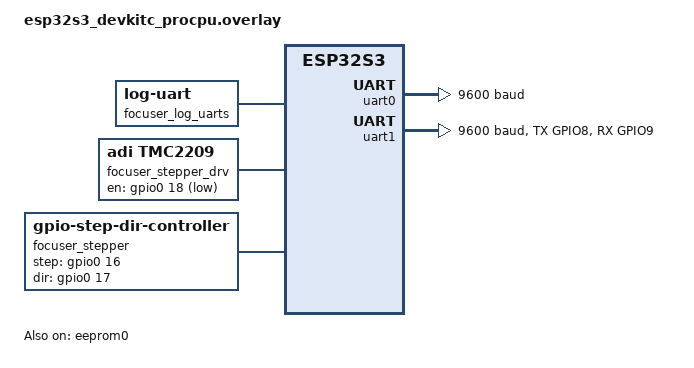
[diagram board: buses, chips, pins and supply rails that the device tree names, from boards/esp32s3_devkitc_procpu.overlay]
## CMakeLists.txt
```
#-------------------------------------------------------------------------------
# OpenAstroFocuser
#
# Copyright (c) 2021 Nordic Semiconductor ASA
# SPDX-License-Identifier: Apache-2.0

cmake_minimum_required(VERSION 3.13.1)
find_package(Zephyr REQUIRED HINTS $ENV{ZEPHYR_BASE})

project(app LANGUAGES C CXX)

target_sources(app PRIVATE
	src/main.cpp
	src/Focuser.cpp
	src/EepromPositionStore.cpp
	src/FocuserThread.cpp
	src/UartHandler.cpp
	src/UartThread.cpp
	src/Thread.cpp
	src/ZephyrStepper.cpp)
```

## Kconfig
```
# Copyright (c) 2021 Nordic Semiconductor ASA
# SPDX-License-Identifier: Apache-2.0
#
# This file is the application Kconfig entry point. All application Kconfig
# options can be defined here or included via other application Kconfig files.
# You can browse these options using the west targets menuconfig (terminal) or
# guiconfig (GUI).

menu "Zephyr"
source "Kconfig.zephyr"
endmenu

menu "OpenAstroFocuser options"

endmenu

module = APP
module-str = APP
source "subsys/logging/Kconfig.template.log_config"
```

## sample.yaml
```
# This file is provided so that the application can be compiled using Twister,
# the Zephyr testing tool. In this file, multiple combinations can be specified,
# so that you can easily test all of them locally or in CI.
sample:
  description: OpenAstroFocuser firmware
  name: OpenAstroFocuser
common:
  build_only: true
  integration_platforms:
    - esp32s3_devkitc/esp32s3/procpu
    - qemu_cortex_m0
tests:
  app.default: {}
  app.debug:
    extra_overlay_confs:
      - debug.conf
```

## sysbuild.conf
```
# Sysbuild configuration for OpenAstroFocuser.
#
# Keep this file empty by default.
#
# To build with MCUboot + signing, use the Zephyr snippet:
#
#   west build -S mcuboot --sysbuild [...]
```

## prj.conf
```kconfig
# Copyright (c) 2025
# SPDX-License-Identifier: Apache-2.0

# Enable C++ support and the standard library used by the Moonlite protocol stack.
CONFIG_CPP=y
CONFIG_STD_CPP20=y
CONFIG_GLIBCXX_LIBCPP=y
CONFIG_MOONLITE=y

# Provide heap storage for std::string and other dynamic allocations.
CONFIG_HEAP_MEM_POOL_SIZE=4096

# Enable Serial/UART driver
CONFIG_SERIAL=y
CONFIG_UART_INTERRUPT_DRIVEN=y

# Enable Console (printk)
CONFIG_CONSOLE=y
CONFIG_UART_CONSOLE=y

# Enable Logging (LOG_INF, LOG_ERR)
CONFIG_LOG=y

# Persist focuser state in flash-backed EEPROM.
CONFIG_EEPROM=y

# Set the application log level.
CONFIG_APP_LOG_LEVEL_INF=y

CONFIG_COUNTER=y

# Enable Zephyr's generic stepper controller subsystem and the TMC2209 backend.
CONFIG_STEPPER=y
CONFIG_STEPPER_ADI_TMC2209=y

# Grow the main thread stack to accommodate the C++ runtime initialisation.
CONFIG_MAIN_STACK_SIZE=3072
```

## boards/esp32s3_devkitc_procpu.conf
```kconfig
# Ensure printk/log output goes to the default USB-UART bridge on UART0
CONFIG_SERIAL=y
CONFIG_CONSOLE=y
CONFIG_STDOUT_CONSOLE=y
CONFIG_UART_CONSOLE=y
CONFIG_PRINTK=y
CONFIG_LOG_BACKEND_UART=y
```

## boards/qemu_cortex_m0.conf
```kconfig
# SPDX-License-Identifier: Apache-2.0
#
# Extra configuration for running the focuser firmware under QEMU. The
# simulator lacks a TMC2209 so we swap in Zephyr's GPIO H-bridge stepper
# driver which only depends on the virtual GPIO controller.

CONFIG_STEPPER_ADI_TMC2209=n
CONFIG_H_BRIDGE_STEPPER=y
CONFIG_GPIO=y
CONFIG_HEAP_MEM_POOL_SIZE=2048
CONFIG_MAIN_STACK_SIZE=2048
CONFIG_FOCUSER_THREAD_STACK_SIZE=1536
CONFIG_SERIAL_THREAD_STACK_SIZE=1536
```

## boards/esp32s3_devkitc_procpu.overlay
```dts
/*
 * Copyright (c) 2025 Zephyr Project Members
 * SPDX-License-Identifier: Apache-2.0
 */

/* Devicetree overlay enabling the Moonlite focuser firmware on ESP32-S3 DevKitC
 * (PROCPU). Device configuration is performed using chosen nodes:
 *   - focuser,uart: selects the UART device for the focuser console
 *   - focuser,stepper: selects the step/dir controller for the stepper motor
 *   - focuser,stepper-drv: selects the TMC2209 stepper driver device
 * These chosen nodes are used by the application to access the appropriate hardware.
 */

/ {
	aliases {
		eeprom-0 = &eeprom0;
	};

	chosen {
		zephyr,console = &uart1;
		zephyr,log-uart = &focuser_log_uarts;
		focuser,uart = &uart0;
		focuser,stepper = &focuser_stepper;
		focuser,stepper-drv = &focuser_stepper_drv;
	};

	eeprom0: eeprom@0 {
		compatible = "zephyr,emu-eeprom";
		label = "focuser-eeprom";
		reg = <0x0 0x20>;
		size = <32>;
		pagesize = <0x1000>;
		partition = <&storage_partition>;
		rambuf;
		status = "okay";
	};

	focuser_log_uarts: focuser_log_uarts {
		compatible = "zephyr,log-uart";
		uarts = <&uart1>;
	};

	focuser_stepper_drv: focuser_stepper_drv {
		compatible = "adi,tmc2209";
		en-gpios = <&gpio0 18 GPIO_ACTIVE_LOW>;
		micro-step-res = <1>;
		status = "okay";
	};

	focuser_stepper: focuser_stepper {
		compatible = "zephyr,gpio-step-dir-controller";
		step-gpios = <&gpio0 16 GPIO_ACTIVE_HIGH>;
		dir-gpios = <&gpio0 17 GPIO_ACTIVE_HIGH>;
		step-width-ns = <10000>;
		status = "okay";
	};
};

/**
* Moonlite focuser console UART configuration
*/
&uart0 {
	current-speed = <9600>;
	status = "okay";
};

/**
* Moonlite focuser control UART configuration.
* Used for logging and console output.
*/
&uart1 {
	status = "okay";
	current-speed = <9600>;
	pinctrl-0 = <&moonlite_uart1_default>;
	pinctrl-names = "default";
};

/**
* Pin control settings
*/
&pinctrl {
	moonlite_uart1_default: moonlite_uart1_default {
		group1 {
			pinmux = <UART1_TX_GPIO8>;
		};

		group2 {
			pinmux = <UART1_RX_GPIO9>;
			bias-pull-up;
		};
	};
};
```

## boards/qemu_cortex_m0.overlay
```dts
/*
 * SPDX-License-Identifier: Apache-2.0
 *
 * Devicetree overlay enabling the Moonlite focuser firmware on the
 * qemu_cortex_m0 board. The design uses the generic GPIO H-bridge stepper
 * controller for motion ("stepper" alias) plus the Zephyr fake stepper
 * driver ("stepper-drv" alias) so the application can exercise the driver
 * enable path under simulation.
 */

/ {
	aliases {
		stepper = &focuser_stepper;
		stepper-drv = &focuser_stepper_drv;
	};

	focuser_stepper_drv: focuser_stepper_drv {
		compatible = "zephyr,fake-stepper-driver";
		status = "okay";
	};

	focuser_stepper: focuser_stepper {
		compatible = "zephyr,fake-stepper-controller";
		status = "okay";
	};

	zephyr,user {
		uart_handler = <&uart0>;
	};
};

&uart0 {
	current-speed = <9600>;
};
```

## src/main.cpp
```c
/*
 * Moonlite-compatible focuser firmware running on Zephyr.
 */

#include <zephyr/kernel.h>
#include <zephyr/device.h>
#include <zephyr/logging/log.h>
#include <zephyr/sys/util.h>

#include <app_version.h>

#include <errno.h>

#include "Configuration.hpp"
#include "EepromPositionStore.hpp"
#include "Focuser.hpp"
#include "FocuserThread.hpp"
#include "UartHandler.hpp"
#include "UartThread.hpp"
#include "ZephyrStepper.hpp"

LOG_MODULE_REGISTER(focuser, CONFIG_APP_LOG_LEVEL);

namespace
{

	EepromPositionStore g_position_store;
	ZephyrFocuserStepper g_stepper_adapter(config::devices::stepper, config::devices::stepper_drv);
	Focuser g_focuser(g_stepper_adapter, &g_position_store, config::version);
	FocuserThread g_focuser_thread(g_focuser);
	UartHandler g_uart_handler(config::devices::uart);
	UartThread g_uart_thread(g_focuser, g_uart_handler);

} // namespace

int main(void)
{
	LOG_INF("Moonlite focuser firmware %s", APP_VERSION_STRING);

	if (!device_is_ready(config::devices::uart))
	{
		LOG_ERR("UART handler device not ready");
		return -ENODEV;
	}

	int ret = g_uart_handler.init();
	if (ret != 0)
	{
		LOG_ERR("Failed to initialize UART handler");
		return ret;
	}

	ret = g_focuser.initialise();
	if (ret != 0)
	{
		LOG_ERR("Failed to initialize focuser (%d)", ret);
		return ret;
	}

	g_focuser_thread.start();

	g_uart_thread.start();

	LOG_INF("Moonlite focuser ready: UART 9600 8N1");

	return 0;
}
```

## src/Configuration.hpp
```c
#pragma once

#include <zephyr/device.h>
#include <zephyr/kernel.h>
#include <zephyr/sys/util.h>

#include <app_version.h>

#include <cstddef>

namespace config
{
	constexpr const char version[] = STRINGIFY(APP_VERSION_MAJOR) STRINGIFY(APP_VERSION_MINOR);

	namespace devices
	{

#if !DT_HAS_CHOSEN(focuser_uart)
#error "UART device is required for Moonlite serial protocol"
#else
		constexpr auto uart = DEVICE_DT_GET(DT_CHOSEN(focuser_uart));
#endif

#if !DT_HAS_CHOSEN(focuser_stepper)
#error "Stepper device is required for Moonlite serial protocol"
#else
		constexpr auto stepper = DEVICE_DT_GET(DT_CHOSEN(focuser_stepper));
#endif

#if !DT_HAS_CHOSEN(focuser_stepper_drv)
#error "Stepper driver device is required for Moonlite serial protocol"
#else
		constexpr auto stepper_drv = DEVICE_DT_GET(DT_CHOSEN(focuser_stepper_drv));
#endif

	} // namespace devices

	namespace threads
	{
		constexpr auto focuser_priority = K_PRIO_PREEMPT(4);
		constexpr auto focuser_stack_size = K_THREAD_STACK_LEN(2048);
		inline k_thread_stack_t focuser_stack[focuser_stack_size];

		constexpr auto serial_priority = K_PRIO_PREEMPT(5);
		constexpr auto serial_stack_size = K_THREAD_STACK_LEN(2048);
		inline k_thread_stack_t serial_stack[serial_stack_size];
	} // namespace threads
} // namespace config
```

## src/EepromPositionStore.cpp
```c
#include "EepromPositionStore.hpp"

#include <zephyr/device.h>
#include <zephyr/devicetree.h>
#include <zephyr/drivers/eeprom.h>
#include <zephyr/logging/log.h>
#include <zephyr/sys/util.h>

LOG_MODULE_REGISTER(position_store, CONFIG_APP_LOG_LEVEL);

namespace
{
#if DT_HAS_ALIAS(eeprom_0)
#define FOCUSER_EEPROM_NODE DT_ALIAS(eeprom_0)
#endif

#ifdef FOCUSER_EEPROM_NODE
const struct device *const k_eeprom = DEVICE_DT_GET(FOCUSER_EEPROM_NODE);
#endif

constexpr uint32_t kPositionMagic = 0x464F4350U; // "FOCP"
constexpr off_t kPositionOffset = 0;

} // namespace

EepromPositionStore::EepromPositionStore()
{
}

bool EepromPositionStore::load(uint16_t &position_out)
{
#ifndef FOCUSER_EEPROM_NODE
	ARG_UNUSED(position_out);
	return false;
#else
	if (!ensure_ready())
	{
		return false;
	}

	PositionRecord record{};
	const int ret = eeprom_read(k_eeprom, kPositionOffset, &record, sizeof(record));
	if (ret != 0)
	{
		LOG_WRN("Failed to read position from EEPROM (%d)", ret);
		return false;
	}

	if ((record.magic != kPositionMagic) || (record.checksum != checksum(record.position)))
	{
		return false;
	}

	position_out = record.position;
	m_last_value = record.position;
	m_has_value = true;
	return true;
#endif
}

void EepromPositionStore::save(uint16_t position)
{
#ifndef FOCUSER_EEPROM_NODE
	ARG_UNUSED(position);
	return;
#else
	if (m_has_value && (position == m_last_value))
	{
		return;
	}

	if (!ensure_ready())
	{
		return;
	}

	PositionRecord record{
		.magic = kPositionMagic,
		.position = position,
		.checksum = checksum(position),
	};

	const int ret = eeprom_write(k_eeprom, kPositionOffset, &record, sizeof(record));
	if (ret != 0)
	{
		LOG_ERR("Failed to save position to EEPROM (%d)", ret);
		return;
	}

	m_last_value = position;
	m_has_value = true;
	LOG_DBG("Saved focuser position 0x%04x (%u) to EEPROM", position, position);
#endif
}

bool EepromPositionStore::ensure_ready()
{
#ifndef FOCUSER_EEPROM_NODE
	return false;
#else
	if (!m_ready)
	{
		if (!device_is_ready(k_eeprom))
		{
			LOG_WRN("EEPROM device not ready");
			return false;
		}

		m_eeprom_size = eeprom_get_size(k_eeprom);
		if (m_eeprom_size < sizeof(PositionRecord))
		{
			LOG_ERR("EEPROM too small (%zu < %zu)", m_eeprom_size, sizeof(PositionRecord));
			return false;
		}

		m_ready = true;
	}

	return true;
#endif
}

uint16_t EepromPositionStore::checksum(uint16_t position) const
{
	return static_cast<uint16_t>(((kPositionMagic >> 16) ^ (kPositionMagic & 0xFFFFU) ^ position) & 0xFFFFU);
}
```

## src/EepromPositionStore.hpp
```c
#pragma once

#include <cstddef>
#include <cstdint>

#include "PositionStore.hpp"

class EepromPositionStore final : public PositionStore
{
public:
	EepromPositionStore();

	bool load(uint16_t &position_out) override;
	void save(uint16_t position) override;

private:
	struct PositionRecord
	{
		uint32_t magic;
		uint16_t position;
		uint16_t checksum;
	};

	bool ensure_ready();
	uint16_t checksum(uint16_t position) const;

	bool m_ready{false};
	bool m_has_value{false};
	uint16_t m_last_value{0U};
	size_t m_eeprom_size{0U};
};
```

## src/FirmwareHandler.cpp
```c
#error "FirmwareHandler.cpp has been renamed to Focuser.cpp. Please update your build to use src/Focuser.cpp."
```

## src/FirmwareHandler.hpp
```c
#pragma once

#error "FirmwareHandler.hpp has been renamed to Focuser.hpp. Include Focuser.hpp instead."
```

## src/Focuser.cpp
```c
#include "Focuser.hpp"

#include <zephyr/logging/log.h>

#include <errno.h>

LOG_MODULE_DECLARE(focuser, CONFIG_APP_LOG_LEVEL);

namespace
{
	uint32_t compute_step_period_us(uint8_t multiplier)
	{
		uint32_t m = (multiplier == 0U) ? 1U : static_cast<uint32_t>(multiplier);
		uint32_t steps_per_second = 2000U / m;
		if (steps_per_second < 100U)
		{
			steps_per_second = 100U;
		}

		return Z_HZ_us / steps_per_second;
	}

} // namespace

Focuser::Focuser(FocuserStepper &stepper, PositionStore *store, const char *firmware_version)
	: m_firmware_version(firmware_version), m_stepper(stepper), m_store(store)
{
	/* Do not touch hardware here; start with the stepper driver disabled.
	 * The driver is enabled only for the duration of motion.
	 */
}

int Focuser::initialise()
{
	init();
	if (!m_stepper.is_ready())
	{
		LOG_ERR("Stepper hardware not ready");
		return -ENODEV;
	}

	/* Ensure the stepper driver starts disabled; it will be enabled during motion only. */
	int ret = set_stepper_driver_enabled(false);
	if (ret != 0)
	{
		return ret;
	}

	ret = m_stepper.set_reference_position(0);
	if (ret != 0)
	{
		LOG_ERR("Failed to set stepper reference position (%d)", ret);
		return ret;
	}

	restore_position();

	uint64_t interval_ns = 0;
	{
		MutexLock lock(m_state.lock);
		interval_ns = m_state.step_interval_ns;
	}
	return apply_step_interval(interval_ns);
}

void Focuser::update_timing_locked()
{
	const uint32_t period_us = compute_step_period_us(m_state.speed_multiplier);
	m_state.step_interval_ns = static_cast<uint64_t>(period_us) * 1000ULL;
	LOG_DBG("Computed step timing: period=%u us", period_us);
}

void Focuser::init()
{
	k_mutex_init(&m_state.lock);
	k_sem_init(&m_state.move_sem, 0, K_SEM_MAX_LIMIT);
	m_state.move_request = false;
	m_state.cancel_move = false;
	m_state.staged_position = 0U;
	m_state.desired_position = 0U;
	m_state.speed_multiplier = 1U;
	m_state.half_step = false;
	m_state.temperature_coeff_times2 = 0;
	update_timing_locked();
}

void Focuser::loop()
{
	while (true)
	{
		k_sem_take(&m_state.move_sem, K_FOREVER);

		while (true)
		{
			bool should_cancel = false;
			bool have_move = false;
			uint16_t target = 0U;

			{
				MutexLock lock(m_state.lock);
				if (m_state.cancel_move)
				{
					should_cancel = true;
					m_state.cancel_move = false;
				}
				else if (m_state.move_request)
				{
					target = m_state.desired_position;
					m_state.move_request = false;
					have_move = true;
					LOG_DBG("Starting motion toward 0x%04x (%u)", target, target);
				}
			}

			if (should_cancel)
			{
				(void)m_stepper.stop();
				const uint16_t actual16 = static_cast<uint16_t>(read_actual_position() & 0xFFFF);
				MutexLock lock(m_state.lock);
				m_state.desired_position = actual16;
				break;
			}

			if (!have_move)
			{
				break;
			}

			move_to(target);
		}
	}
}

void Focuser::stop()
{
	LOG_DBG("stop()");
	const uint16_t actual16 = static_cast<uint16_t>(read_actual_position() & 0xFFFF);
	{
		MutexLock lock(m_state.lock);
		m_state.cancel_move = true;
		m_state.move_request = false;
		m_state.desired_position = actual16;
	}
	(void)m_stepper.stop();
	(void)set_stepper_driver_enabled(false);
	k_sem_give(&m_state.move_sem);
	save_position(actual16);
	LOG_INF("stop()");
}

uint16_t Focuser::getCurrentPosition()
{
	LOG_DBG("getCurrentPosition()");
	const int32_t actual = read_actual_position();
	const uint16_t pos = static_cast<uint16_t>(actual & 0xFFFF);
	{
		MutexLock lock(m_state.lock);
		m_state.desired_position = pos;
	}
	LOG_DBG("getCurrentPosition -> 0x%04x (%u)", pos, pos);
	return pos;
}

void Focuser::setCurrentPosition(uint16_t position)
{
	applyCurrentPosition(position, true);
}

uint16_t Focuser::getNewPosition()
{
	LOG_DBG("getNewPosition()");
	MutexLock lock(m_state.lock);
	LOG_DBG("getNewPosition -> 0x%04x (%u)", m_state.staged_position, m_state.staged_position);
	return m_state.staged_position;
}

void Focuser::setNewPosition(uint16_t position)
{
	LOG_DBG("setNewPosition()");
	MutexLock lock(m_state.lock);
	LOG_INF("setNewPosition 0x%04x (%u) (was 0x%04x)", position, position, m_state.staged_position);
	m_state.staged_position = position;
}

void Focuser::goToNewPosition()
{
	LOG_DBG("goToNewPosition()");
	uint16_t target;
	{
		MutexLock lock(m_state.lock);
		m_state.desired_position = m_state.staged_position;
		m_state.move_request = true;
		m_state.cancel_move = false;
		target = m_state.staged_position;
	}
	k_sem_give(&m_state.move_sem);
	LOG_INF("goToNewPosition target=0x%04x (%u)", target, target);
}

bool Focuser::isHalfStep()
{
	LOG_DBG("isHalfStep()");
	MutexLock lock(m_state.lock);
	LOG_DBG("isHalfStep -> %s", m_state.half_step ? "true" : "false");
	return m_state.half_step;
}

void Focuser::setHalfStep(bool enabled)
{
	LOG_DBG("setHalfStep()");
	MutexLock lock(m_state.lock);
	LOG_INF("setHalfStep %s (was %s)", enabled ? "true" : "false",
		m_state.half_step ? "true" : "false");
	m_state.half_step = enabled;
}

bool Focuser::isMoving()
{
	LOG_DBG("isMoving()");
	bool moving = false;
	int ret = m_stepper.is_moving(moving);
	if (ret != 0)
	{
		LOG_WRN("stepper_is_moving failed (%d)", ret);
		return false;
	}
	LOG_DBG("isMoving -> %s", moving ? "true" : "false");
	return moving;
}

std::string Focuser::getFirmwareVersion()
{
	LOG_DBG("getFirmwareVersion()");
	LOG_DBG("getFirmwareVersion -> %s", m_firmware_version);
	return std::string(m_firmware_version);
}

uint8_t Focuser::getSpeed()
{
	LOG_DBG("getSpeed()");
	MutexLock lock(m_state.lock);
	LOG_DBG("getSpeed -> 0x%02x (%u)", m_state.speed_multiplier, m_state.speed_multiplier);
	return m_state.speed_multiplier;
}

void Focuser::setSpeed(uint8_t speed)
{
	LOG_DBG("setSpeed()");
	if (speed == 0U)
	{
		speed = 1U;
	}
	uint64_t interval_ns = 0;
	{
		MutexLock lock(m_state.lock);
		LOG_INF("setSpeed 0x%02x (%u) (was 0x%02x)", speed, speed, m_state.speed_multiplier);
		m_state.speed_multiplier = speed;
		update_timing_locked();
		interval_ns = m_state.step_interval_ns;
	}
	(void)apply_step_interval(interval_ns);
}

uint16_t Focuser::getTemperature()
{
	LOG_DBG("getTemperature()");
	LOG_DBG("getTemperature -> 0x0000 (0)");
	return 0x0000;
}

uint8_t Focuser::getTemperatureCoefficientRaw()
{
	LOG_DBG("getTemperatureCoefficientRaw()");
	MutexLock lock(m_state.lock);
	LOG_DBG("getTemperatureCoefficientRaw -> 0x%02x (%d -> %.1f)",
		static_cast<uint8_t>(m_state.temperature_coeff_times2),
		static_cast<int>(m_state.temperature_coeff_times2),
		static_cast<double>(m_state.temperature_coeff_times2) / 2.0);
	return static_cast<uint8_t>(m_state.temperature_coeff_times2);
}

void Focuser::move_to(uint16_t target)
{
	uint64_t interval_ns = 0;
	{
		MutexLock lock(m_state.lock);
		interval_ns = m_state.step_interval_ns;
	}

	const bool enabled_for_move = (set_stepper_driver_enabled(true) == 0);
	if (!enabled_for_move)
	{
		return;
	}

	if (apply_step_interval(interval_ns) != 0)
	{
		(void)set_stepper_driver_enabled(false);
		return;
	}

	int ret = m_stepper.move_to(static_cast<int32_t>(target));
	if (ret != 0)
	{
		LOG_ERR("Failed to start move to 0x%04x (%d)", target, ret);
		(void)set_stepper_driver_enabled(false);
		return;
	}

	while (true)
	{
		bool moving = false;
		ret = m_stepper.is_moving(moving);
		if (ret != 0)
		{
			LOG_ERR("stepper_is_moving failed (%d)", ret);
			break;
		}
		if (!moving)
		{
			break;
		}

		bool should_cancel = false;
		{
			MutexLock lock(m_state.lock);
			should_cancel = m_state.cancel_move;
			if (should_cancel)
			{
				m_state.cancel_move = false;
			}
		}

		if (should_cancel)
		{
			LOG_DBG("Stopping active motion per cancel request");
			(void)m_stepper.stop();
			break;
		}

		k_msleep(5);
	}

	const int32_t actual = read_actual_position();
	bool pending_move = false;
	const uint16_t actual16 = static_cast<uint16_t>(actual & 0xFFFF);
	{
		MutexLock lock(m_state.lock);
		m_state.desired_position = actual16;
		pending_move = m_state.move_request;
	}
	if (!pending_move)
	{
		(void)set_stepper_driver_enabled(false);
	}

	save_position(actual16);
	LOG_DBG("Motion complete -> 0x%04x (%d)", static_cast<uint16_t>(actual & 0xFFFF), actual);
}

int Focuser::apply_step_interval(uint64_t interval_ns)
{
	if (interval_ns == 0U)
	{
		return -EINVAL;
	}

	const int ret = m_stepper.set_microstep_interval(interval_ns);
	if (ret != 0)
	{
		LOG_ERR("Failed to set step interval (%d)", ret);
	}
	return ret;
}

int32_t Focuser::read_actual_position()
{
	int32_t actual = 0;
	int ret = m_stepper.get_actual_position(actual);
	if (ret != 0)
	{
		LOG_WRN("Failed to query actual position (%d)", ret);
		uint16_t fallback = 0U;
		{
			MutexLock lock(m_state.lock);
			fallback = m_state.desired_position;
		}
		return static_cast<int32_t>(fallback);
	}
	return actual;
}

void Focuser::restore_position()
{
	if (m_store == nullptr)
	{
		LOG_INF("No position store configured; using default position 0");
		return;
	}

	uint16_t persisted = 0U;
	if (m_store->load(persisted))
	{
		LOG_INF("Restoring focuser position 0x%04x (%u) from store", persisted, persisted);
		applyCurrentPosition(persisted, false);
	}
	else
	{
		LOG_INF("No persisted focuser position found, defaulting to 0");
	}
}

void Focuser::applyCurrentPosition(uint16_t position, bool persist)
{
	LOG_DBG("setCurrentPosition()");
	int ret = m_stepper.set_reference_position(static_cast<int32_t>(position));
	if (ret != 0)
	{
		LOG_ERR("Failed to set reference position (%d)", ret);
	}

	{
		MutexLock lock(m_state.lock);
		m_state.staged_position = position;
		m_state.desired_position = position;
		m_state.move_request = false;
		m_state.cancel_move = false;
	}

	if (persist)
	{
		save_position(position);
		LOG_INF("setCurrentPosition 0x%04x (%u)", position, position);
	}
	else
	{
		LOG_INF("setCurrentPosition 0x%04x (%u) (no persist)", position, position);
	}
}

void Focuser::save_position(uint16_t position)
{
	if (m_store == nullptr)
	{
		return;
	}

	m_store->save(position);
}

int Focuser::set_stepper_driver_enabled(bool enable)
{
	const int ret = m_stepper.enable_driver(enable);
	if ((ret != 0) && (ret != -EALREADY))
	{
		if (enable)
		{
			LOG_ERR("Failed to enable stepper driver (%d)", ret);
		}
		else
		{
			LOG_WRN("Failed to disable stepper driver (%d)", ret);
		}
		return ret;
	}

	return 0;
}
```

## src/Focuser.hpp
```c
#pragma once

#include <zephyr/kernel.h>

#include <Moonlite.hpp>

#include <cstdint>
#include <string>

#include "FocuserStepper.hpp"
#include "PositionStore.hpp"

class Focuser final : public moonlite::Handler
{
public:
	explicit Focuser(FocuserStepper &stepper, PositionStore *store, const char *firmware_version);

	int initialise();
	void loop();

	void stop() override;
	uint16_t getCurrentPosition() override;
	void setCurrentPosition(uint16_t position) override;
	uint16_t getNewPosition() override;
	void setNewPosition(uint16_t position) override;
	void goToNewPosition() override;
	bool isHalfStep() override;
	void setHalfStep(bool enabled) override;
	bool isMoving() override;
	std::string getFirmwareVersion() override;
	uint8_t getSpeed() override;
	void setSpeed(uint8_t speed) override;
	uint16_t getTemperature() override;
	uint8_t getTemperatureCoefficientRaw() override;

private:
	struct FocuserState
	{
		k_mutex lock{};
		k_sem move_sem{};
		bool move_request{false};
		bool cancel_move{false};
		uint64_t step_interval_ns{500000U};
		uint16_t staged_position{0U};
		uint16_t desired_position{0U};
		uint8_t speed_multiplier{1U};
		bool half_step{false};
		int8_t temperature_coeff_times2{0};
	};

	class MutexLock
	{
	public:
		explicit MutexLock(k_mutex &mutex) : m_mutex(mutex)
		{
			k_mutex_lock(&m_mutex, K_FOREVER);
		}

		~MutexLock()
		{
			k_mutex_unlock(&m_mutex);
		}

	private:
		k_mutex &m_mutex;
	};

	void update_timing_locked();
	void init();
	void move_to(uint16_t target);
	int apply_step_interval(uint64_t interval_ns);
	int32_t read_actual_position();
	int set_stepper_driver_enabled(bool enable);
	void restore_position();
	void applyCurrentPosition(uint16_t position, bool persist);
	void save_position(uint16_t position);

	const char *m_firmware_version;

	FocuserState m_state{};
	FocuserStepper &m_stepper;
	PositionStore *m_store;
};
```

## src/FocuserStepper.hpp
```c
#pragma once

#include <cstdint>

// Abstracts the underlying stepper controller so Focuser logic can be reused
// outside Zephyr or with mocks in tests. Methods mirror the Zephyr stepper API
// and should return the same errno-style values.
class FocuserStepper
{
public:
    virtual ~FocuserStepper() = default;

    // Returns true when both the stepper controller and driver can be used.
    virtual bool is_ready() const = 0;

    // Re-bases the reported position so the physical location matches firmware state.
    virtual int set_reference_position(int32_t position) = 0;

    // Updates the microstep interval in nanoseconds; smaller values move faster.
    virtual int set_microstep_interval(uint64_t interval_ns) = 0;

    // Begins motion toward the requested target position.
    virtual int move_to(int32_t target) = 0;

    // Queries whether the controller is currently moving.
    virtual int is_moving(bool &moving) = 0;

    // Immediately stops any active motion.
    virtual int stop() = 0;

    // Reads the actual position reported by the controller.
    virtual int get_actual_position(int32_t &position) = 0;

    // Enables or disables the external stepper driver if present.
    virtual int enable_driver(bool enable) = 0;
};
```

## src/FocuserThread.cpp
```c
#include "FocuserThread.hpp"

#include <zephyr/logging/log.h>

#include "Configuration.hpp"
#include "Focuser.hpp"

LOG_MODULE_DECLARE(focuser);

FocuserThread::FocuserThread(Focuser &focuser)
	: Thread(config::threads::focuser_stack,
		 K_THREAD_STACK_SIZEOF(config::threads::focuser_stack),
		 config::threads::focuser_priority, "focuser"),
	  m_focuser(focuser)
{
}

void FocuserThread::start()
{
	if (!start_thread())
	{
		LOG_ERR("Failed to start focuser thread");
	}
}

void FocuserThread::run()
{
	m_focuser.loop();
}
```

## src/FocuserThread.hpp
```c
#pragma once

#include "Thread.hpp"

class Focuser;

class FocuserThread : public Thread {
public:
	explicit FocuserThread(Focuser &focuser);

	void start();

private:
	void run() override;

	Focuser &m_focuser;
};
```

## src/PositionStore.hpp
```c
#pragma once

#include <cstdint>

class PositionStore
{
public:
	virtual ~PositionStore() = default;

	virtual bool load(uint16_t &position_out) = 0;
	virtual void save(uint16_t position) = 0;
};
```

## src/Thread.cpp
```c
#include "Thread.hpp"

Thread::Thread(k_thread_stack_t *stack_memory, std::size_t stack_size, int priority, const char *name)
    : m_stack(stack_memory), m_stack_size(stack_size), m_priority(priority), m_name(name), m_thread{},
      m_started(false)
{
}

bool Thread::start_thread()
{
    if (m_started)
    {
        return true;
    }

    if (m_stack == nullptr)
    {
        return false;
    }

    k_thread_create(&m_thread, m_stack, m_stack_size, thread_entry, this, nullptr, nullptr, m_priority, 0,
                    K_NO_WAIT);

    if (m_name != nullptr)
    {
        k_thread_name_set(&m_thread, m_name);
    }

    m_started = true;
    return true;
}

void Thread::thread_entry(void *arg1, void *, void *)
{
    auto *self = static_cast<Thread *>(arg1);
    if (self == nullptr)
    {
        return;
    }

    self->run();
}
```
